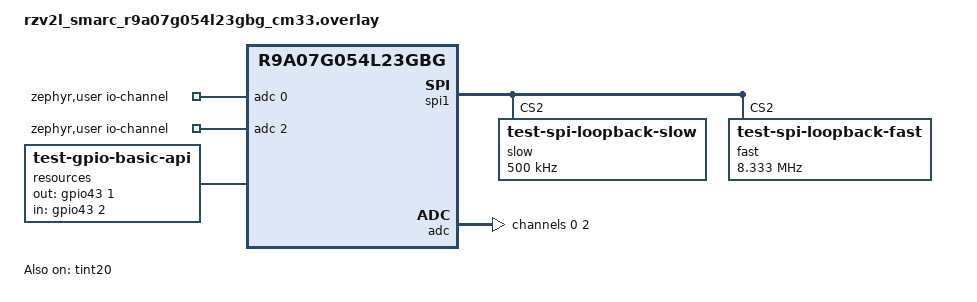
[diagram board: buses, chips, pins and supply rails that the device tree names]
/*
 * Copyright (c) 2025 Renesas Electronics Corporation
 *
 * SPDX-License-Identifier: Apache-2.0
 */

&dma0 {
	status = "okay";
};

tst_dma0: &dma0 {};

&spi1 {
	dmas = <&dma0 6 RZ_DMA_PERIPH_TO_MEM>,
	       <&dma0 5 RZ_DMA_MEM_TO_PERIPH>;
	dma-names = "rx", "tx";
	slow@2 {
		compatible = "test-spi-loopback-slow";
		reg = <2>;
		spi-max-frequency = <500000>;
	};
	fast@2 {
		compatible = "test-spi-loopback-fast";
		reg = <2>;
		spi-max-frequency = <8333333>;
	};
};

&dma0 {
	status = "okay";
	dma-buf-addr-alignment = <1>;
};

/ {
	zephyr,user {
		io-channels = <&adc 0>, <&adc 2>;
	};
};

&adc {
	status = "okay";
	#address-cells = <1>;
	#size-cells = <0>;
	channel@0 {
		reg = <0>;
		zephyr,gain = "ADC_GAIN_1";
		zephyr,reference = "ADC_REF_INTERNAL";
		zephyr,resolution = <12>;
		zephyr,acquisition-time = <ADC_ACQ_TIME_DEFAULT>;
		zephyr,vref-mv = <1800>;
	};
	channel@2 {
		reg = <2>;
		zephyr,gain = "ADC_GAIN_1";
		zephyr,reference = "ADC_REF_INTERNAL";
		zephyr,resolution = <12>;
		zephyr,acquisition-time = <ADC_ACQ_TIME_DEFAULT>;
		zephyr,vref-mv = <1800>;
	};
};

/ {
	resources {
		compatible = "test-gpio-basic-api";
		out-gpios = <&gpio43 1 GPIO_ACTIVE_HIGH>;
		in-gpios = <&gpio43 2 GPIO_ACTIVE_HIGH>;
	};
};

&tint20 {
	status = "okay";
};

&gpio43 {
	irqs = <&tint20 2>;
	status = "okay";
};
